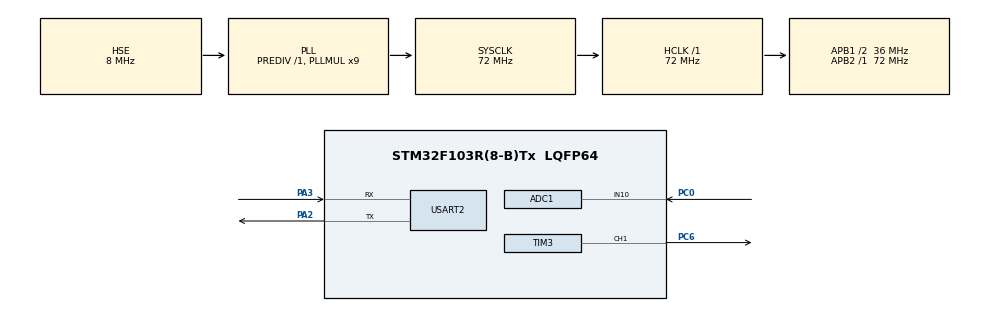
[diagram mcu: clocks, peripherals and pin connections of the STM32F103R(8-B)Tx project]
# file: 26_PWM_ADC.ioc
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ADC1.Channel-0\#ChannelRegularConversion=ADC_CHANNEL_10
ADC1.ContinuousConvMode=ENABLE
ADC1.NbrOfConversionFlag=1
ADC1.Rank-0\#ChannelRegularConversion=1
ADC1.SamplingTime-0\#ChannelRegularConversion=ADC_SAMPLETIME_13CYCLES_5
ADC1.master=1
Mcu.Family=STM32F1
Mcu.Name=STM32F103R(8-B)Tx
Mcu.Package=LQFP64
NVIC.PriorityGroup=NVIC_PRIORITYGROUP_4
PA2.Mode=Asynchronous
PA2.Signal=USART2_TX
PA3.Mode=Asynchronous
PA3.Signal=USART2_RX
PC0.Signal=ADCx_IN10
PC14-OSC32_IN.Mode=LSE-External-Oscillator
PC14-OSC32_IN.Signal=RCC_OSC32_IN
PC15-OSC32_OUT.Mode=LSE-External-Oscillator
PC15-OSC32_OUT.Signal=RCC_OSC32_OUT
PC6.Signal=S_TIM3_CH1
PD0-OSC_IN.Mode=HSE-External-Clock-Source
PD0-OSC_IN.Signal=RCC_OSC_IN
PD1-OSC_OUT.Mode=HSE-External-Clock-Source
PD1-OSC_OUT.Signal=RCC_OSC_OUT
ProjectManager.HeapSize=0x200
ProjectManager.StackSize=0x400
ProjectManager.TargetToolchain=STM32CubeIDE
RCC.ADCPresc=RCC_ADCPCLK2_DIV6
RCC.AHBFreq_Value=72000000
RCC.APB1CLKDivider=RCC_HCLK_DIV2
RCC.APB1Freq_Value=36000000
RCC.APB1TimFreq_Value=72000000
RCC.APB2Freq_Value=72000000
RCC.APB2TimFreq_Value=72000000
RCC.HCLKFreq_Value=72000000
RCC.PLLMUL=RCC_PLL_MUL9
RCC.PLLSourceVirtual=RCC_PLLSOURCE_HSE
RCC.SYSCLKFreq_VALUE=72000000
RCC.SYSCLKSource=RCC_SYSCLKSOURCE_PLLCLK
RCC.USBFreq_Value=72000000
SH.ADCx_IN10.0=ADC1_IN10,IN10
SH.S_TIM3_CH1.0=TIM3_CH1,PWM Generation1 CH1
TIM3.AutoReloadPreload=TIM_AUTORELOAD_PRELOAD_ENABLE
TIM3.Channel-PWM\ Generation1\ CH1=TIM_CHANNEL_1
TIM3.Period=1000-1
TIM3.Prescaler=72-1
USART2.VirtualMode=VM_ASYNC
VP_TIM3_VS_ClockSourceINT.Mode=Internal
board=custom

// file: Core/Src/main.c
/* USER CODE BEGIN Header */
/**
  ******************************************************************************
  * @file           : main.c
  * @brief          : Main program body
  ******************************************************************************
  * @attention
  *
  * Copyright (c) 2023 STMicroelectronics.
  * All rights reserved.
  *
  * This software is licensed under terms that can be found in the LICENSE file
  * in the root directory of this software component.
  * If no LICENSE file comes with this software, it is provided AS-IS.
  *
  ******************************************************************************
  */
/* USER CODE END Header */
#include "main.h"

/* USER CODE BEGIN Includes */
#include <stdio.h>
/* USER CODE END Includes */

ADC_HandleTypeDef hadc1;

TIM_HandleTypeDef htim3;

UART_HandleTypeDef huart2;

/* USER CODE BEGIN PV */
uint16_t adc_value;	//12bit
uint16_t led_ccr1; 	//16bit

/* USER CODE END PV */

void SystemClock_Config(void);
static void MX_GPIO_Init(void);
static void MX_ADC1_Init(void);
static void MX_TIM3_Init(void);
static void MX_USART2_UART_Init(void);

/* USER CODE BEGIN 0 */
int __io_putchar(int ch) {
   HAL_UART_Transmit(&huart2, (uint8_t *)&ch, 1, 1000);
   if (ch == '\n') {
	  HAL_UART_Transmit(&huart2, (uint8_t *)"\r", 1, 1000);
   }
   return ch;
}
/* USER CODE END 0 */

int main(void)
{

  /* MCU Configuration--------------------------------------------------------*/

  /* Reset of all peripherals, Initializes the Flash interface and the Systick. */
  HAL_Init();

  /* Configure the system clock */
  SystemClock_Config();

  /* Initialize all configured peripherals */
  MX_GPIO_Init();
  MX_ADC1_Init();
  MX_TIM3_Init();
  MX_USART2_UART_Init();
  /* USER CODE BEGIN 2 */
  HAL_ADCEx_Calibration_Start(&hadc1);
  HAL_ADC_Start(&hadc1);
  HAL_TIM_PWM_Start(&htim3, TIM_CHANNEL_1);

  /* USER CODE END 2 */

  /* Infinite loop */
  /* USER CODE BEGIN WHILE */
  while (1)
  {
	  if(HAL_ADC_PollForConversion(&hadc1, 10) == HAL_OK){
		  adc_value = HAL_ADC_GetValue(&hadc1);
		  led_ccr1 = (adc_value * 1000) / 4095;
		  __HAL_TIM_SET_COMPARE(&htim3, TIM_CHANNEL_1, led_ccr1);
		  printf("R = %d ohm\n\n", adc_value * 100000 / 4095);
		  printf("V = %d mV\n\n", adc_value * 3300 / 4095);
		  HAL_Delay(1000);
	  }
    /* USER CODE END WHILE */

  }
}

void SystemClock_Config(void)
{
  RCC_OscInitTypeDef RCC_OscInitStruct = {0};
  RCC_ClkInitTypeDef RCC_ClkInitStruct = {0};
  RCC_PeriphCLKInitTypeDef PeriphClkInit = {0};

  /** Initializes the RCC Oscillators according to the specified parameters
  * in the RCC_OscInitTypeDef structure.
  */
  RCC_OscInitStruct.OscillatorType = RCC_OSCILLATORTYPE_HSE;
  RCC_OscInitStruct.HSEState = RCC_HSE_BYPASS;
  RCC_OscInitStruct.HSEPredivValue = RCC_HSE_PREDIV_DIV1;
  RCC_OscInitStruct.HSIState = RCC_HSI_ON;
  RCC_OscInitStruct.PLL.PLLState = RCC_PLL_ON;
  RCC_OscInitStruct.PLL.PLLSource = RCC_PLLSOURCE_HSE;
  RCC_OscInitStruct.PLL.PLLMUL = RCC_PLL_MUL9;
  if (HAL_RCC_OscConfig(&RCC_OscInitStruct) != HAL_OK)
  {
    Error_Handler();
  }

  /** Initializes the CPU, AHB and APB buses clocks
  */
  RCC_ClkInitStruct.ClockType = RCC_CLOCKTYPE_HCLK|RCC_CLOCKTYPE_SYSCLK
                              |RCC_CLOCKTYPE_PCLK1|RCC_CLOCKTYPE_PCLK2;
  RCC_ClkInitStruct.SYSCLKSource = RCC_SYSCLKSOURCE_PLLCLK;
  RCC_ClkInitStruct.AHBCLKDivider = RCC_SYSCLK_DIV1;
  RCC_ClkInitStruct.APB1CLKDivider = RCC_HCLK_DIV2;
  RCC_ClkInitStruct.APB2CLKDivider = RCC_HCLK_DIV1;

  if (HAL_RCC_ClockConfig(&RCC_ClkInitStruct, FLASH_LATENCY_2) != HAL_OK)
  {
    Error_Handler();
  }
  PeriphClkInit.PeriphClockSelection = RCC_PERIPHCLK_ADC;
  PeriphClkInit.AdcClockSelection = RCC_ADCPCLK2_DIV6;
  if (HAL_RCCEx_PeriphCLKConfig(&PeriphClkInit) != HAL_OK)
  {
    Error_Handler();
  }
}

static void MX_ADC1_Init(void)
{

  ADC_ChannelConfTypeDef sConfig = {0};

  /** Common config
  */
  hadc1.Instance = ADC1;
  hadc1.Init.ScanConvMode = ADC_SCAN_DISABLE;
  hadc1.Init.ContinuousConvMode = ENABLE;
  hadc1.Init.DiscontinuousConvMode = DISABLE;
  hadc1.Init.ExternalTrigConv = ADC_SOFTWARE_START;
  hadc1.Init.DataAlign = ADC_DATAALIGN_RIGHT;
  hadc1.Init.NbrOfConversion = 1;
  if (HAL_ADC_Init(&hadc1) != HAL_OK)
  {
    Error_Handler();
  }

  /** Configure Regular Channel
  */
  sConfig.Channel = ADC_CHANNEL_10;
  sConfig.Rank = ADC_REGULAR_RANK_1;
  sConfig.SamplingTime = ADC_SAMPLETIME_13CYCLES_5;
  if (HAL_ADC_ConfigChannel(&hadc1, &sConfig) != HAL_OK)
  {
    Error_Handler();
  }

}

static void MX_TIM3_Init(void)
{

  TIM_ClockConfigTypeDef sClockSourceConfig = {0};
  TIM_MasterConfigTypeDef sMasterConfig = {0};
  TIM_OC_InitTypeDef sConfigOC = {0};

  htim3.Instance = TIM3;
  htim3.Init.Prescaler = 72-1;
  htim3.Init.CounterMode = TIM_COUNTERMODE_UP;
  htim3.Init.Period = 1000-1;
  htim3.Init.ClockDivision = TIM_CLOCKDIVISION_DIV1;
  htim3.Init.AutoReloadPreload = TIM_AUTORELOAD_PRELOAD_ENABLE;
  if (HAL_TIM_Base_Init(&htim3) != HAL_OK)
  {
    Error_Handler();
  }
  sClockSourceConfig.ClockSource = TIM_CLOCKSOURCE_INTERNAL;
  if (HAL_TIM_ConfigClockSource(&htim3, &sClockSourceConfig) != HAL_OK)
  {
    Error_Handler();
  }
  if (HAL_TIM_PWM_Init(&htim3) != HAL_OK)
  {
    Error_Handler();
  }
  sMasterConfig.MasterOutputTrigger = TIM_TRGO_RESET;
  sMasterConfig.MasterSlaveMode = TIM_MASTERSLAVEMODE_DISABLE;
  if (HAL_TIMEx_MasterConfigSynchronization(&htim3, &sMasterConfig) != HAL_OK)
  {
    Error_Handler();
  }
  sConfigOC.OCMode = TIM_OCMODE_PWM1;
  sConfigOC.Pulse = 0;
  sConfigOC.OCPolarity = TIM_OCPOLARITY_HIGH;
  sConfigOC.OCFastMode = TIM_OCFAST_DISABLE;
  if (HAL_TIM_PWM_ConfigChannel(&htim3, &sConfigOC, TIM_CHANNEL_1) != HAL_OK)
  {
    Error_Handler();
  }
  HAL_TIM_MspPostInit(&htim3);

}

static void MX_USART2_UART_Init(void)
{

  huart2.Instance = USART2;
  huart2.Init.BaudRate = 115200;
  huart2.Init.WordLength = UART_WORDLENGTH_8B;
  huart2.Init.StopBits = UART_STOPBITS_1;
  huart2.Init.Parity = UART_PARITY_NONE;
  huart2.Init.Mode = UART_MODE_TX_RX;
  huart2.Init.HwFlowCtl = UART_HWCONTROL_NONE;
  huart2.Init.OverSampling = UART_OVERSAMPLING_16;
  if (HAL_UART_Init(&huart2) != HAL_OK)
  {
    Error_Handler();
  }

}

static void MX_GPIO_Init(void)
{

  /* GPIO Ports Clock Enable */
  __HAL_RCC_GPIOC_CLK_ENABLE();
  __HAL_RCC_GPIOD_CLK_ENABLE();
  __HAL_RCC_GPIOA_CLK_ENABLE();

}

void Error_Handler(void)
{
  __disable_irq();
  while (1)
  {
  }
}
